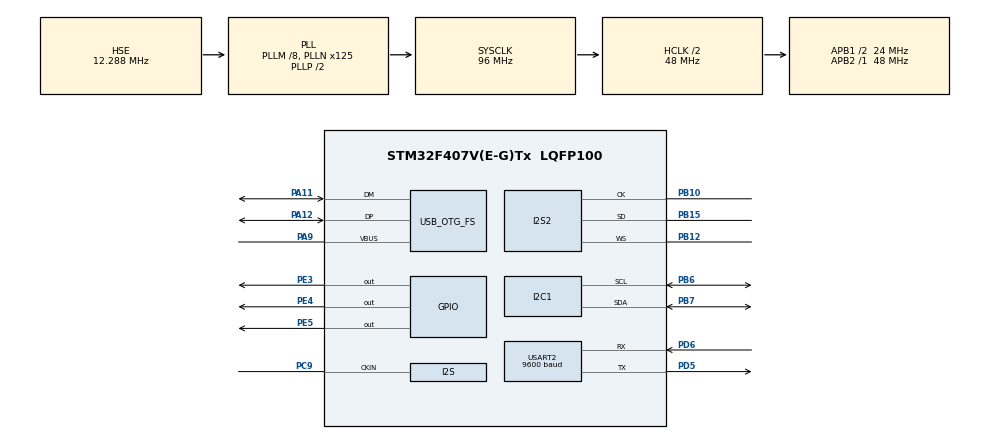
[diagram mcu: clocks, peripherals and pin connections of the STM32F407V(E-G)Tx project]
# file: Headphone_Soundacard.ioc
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Dma.Request0=SPI2_TX
Dma.SPI2_TX.0.Direction=DMA_MEMORY_TO_PERIPH
Dma.SPI2_TX.0.FIFOMode=DMA_FIFOMODE_DISABLE
Dma.SPI2_TX.0.Instance=DMA1_Stream4
Dma.SPI2_TX.0.MemDataAlignment=DMA_MDATAALIGN_HALFWORD
Dma.SPI2_TX.0.MemInc=DMA_MINC_ENABLE
Dma.SPI2_TX.0.Mode=DMA_CIRCULAR
Dma.SPI2_TX.0.PeriphDataAlignment=DMA_PDATAALIGN_HALFWORD
Dma.SPI2_TX.0.PeriphInc=DMA_PINC_DISABLE
Dma.SPI2_TX.0.Priority=DMA_PRIORITY_HIGH
I2S2.AudioFreq=I2S_AUDIOFREQ_48K
I2S2.ErrorAudioFreq=0.0 %
I2S2.FullDuplexMode=I2S_FULLDUPLEXMODE_DISABLE
I2S2.Instance=SPI$Index
I2S2.RealAudioFreq=48.0 KHz
I2S2.VirtualMode=I2S_MODE_MASTER
Mcu.Family=STM32F4
Mcu.Name=STM32F407V(E-G)Tx
Mcu.Package=LQFP100
NVIC.DMA1_Stream4_IRQn=true\:0\:0\:false\:false\:true\:false\:true\:true
NVIC.OTG_FS_IRQn=true\:0\:0\:false\:false\:true\:false\:true\:true
NVIC.PriorityGroup=NVIC_PRIORITYGROUP_4
NVIC.USART2_IRQn=true\:0\:0\:false\:false\:true\:true\:true\:true
PA11.Mode=Device_Only
PA11.Signal=USB_OTG_FS_DM
PA12.Mode=Device_Only
PA12.Signal=USB_OTG_FS_DP
PA13.Mode=Serial_Wire
PA13.Signal=SYS_JTMS-SWDIO
PA14.Mode=Serial_Wire
PA14.Signal=SYS_JTCK-SWCLK
PA9.Mode=Activate_VBUS
PA9.Signal=USB_OTG_FS_VBUS
PB10.Mode=Half_Duplex_Master
PB10.Signal=I2S2_CK
PB12.Mode=Half_Duplex_Master
PB12.Signal=I2S2_WS
PB15.Mode=Half_Duplex_Master
PB15.Signal=I2S2_SD
PB6.Mode=I2C
PB6.Signal=I2C1_SCL
PB7.Mode=I2C
PB7.Signal=I2C1_SDA
PC9.Mode=Audio_ClockIn
PC9.Signal=I2S_CKIN
PD5.Mode=Asynchronous
PD5.Signal=USART2_TX
PD6.Mode=Asynchronous
PD6.Signal=USART2_RX
PE3.Signal=GPIO_Output
PE4.Signal=GPIO_Output
PE5.Signal=GPIO_Output
PH0-OSC_IN.Mode=HSE-External-Clock-Source
PH0-OSC_IN.Signal=RCC_OSC_IN
PH1-OSC_OUT.Mode=HSE-External-Clock-Source
PH1-OSC_OUT.Signal=RCC_OSC_OUT
ProjectManager.HeapSize=0x200
ProjectManager.StackSize=0x400
ProjectManager.TargetToolchain=STM32CubeIDE
RCC.48MHZClocksFreq_Value=48000000
RCC.AHBCLKDivider=RCC_SYSCLK_DIV2
RCC.AHBFreq_Value=48000000
RCC.APB1CLKDivider=RCC_HCLK_DIV2
RCC.APB1Freq_Value=24000000
RCC.APB1TimFreq_Value=48000000
RCC.APB2Freq_Value=48000000
RCC.APB2TimFreq_Value=48000000
RCC.CortexFreq_Value=48000000
RCC.EnbaleCSS=true
RCC.HCLKFreq_Value=48000000
RCC.HSE_VALUE=12288000
RCC.HSI_VALUE=16000000
RCC.LSE_VALUE=32768
RCC.PLLI2SN=96
RCC.PLLI2SR=3
RCC.PLLM=8
RCC.PLLN=125
RCC.SYSCLKFreq_VALUE=96000000
RCC.SYSCLKSource=RCC_SYSCLKSOURCE_PLLCLK
RCC.VCOOutputFreq_Value=192000000
USART2.BaudRate=9600
USART2.VirtualMode=VM_ASYNC
USB_DEVICE.CLASS_NAME_FS=AUDIO
USB_DEVICE.USBD_AUDIO_FREQ-AUDIO_FS=48000
USB_DEVICE.VirtualMode-AUDIO_FS=Audio
USB_DEVICE.VirtualModeFS=Audio_FS
USB_OTG_FS.VirtualMode=Device_Only
VP_USB_DEVICE_VS_USB_DEVICE_AUDIO_FS.Mode=AUDIO_FS
board=custom

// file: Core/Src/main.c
/* USER CODE BEGIN Header */
/**
  ******************************************************************************
  * @file           : main.c
  * @brief          : Main program body
  ******************************************************************************
  * @attention
  *
  * Copyright (c) 2025 STMicroelectronics.
  * All rights reserved.
  *
  * This software is licensed under terms that can be found in the LICENSE file
  * in the root directory of this software component.
  * If no LICENSE file comes with this software, it is provided AS-IS.
  *
  ******************************************************************************
  */
/* USER CODE END Header */
#include "main.h"
#include "usb_device.h"

/* USER CODE BEGIN Includes */
#include "sgtl5000.h"
#include "cmd_ctrl.h"
/* USER CODE END Includes */

I2C_HandleTypeDef hi2c1;

I2S_HandleTypeDef hi2s2;
DMA_HandleTypeDef hdma_spi2_tx;

UART_HandleTypeDef huart2;

void SystemClock_Config(void);
static void MX_GPIO_Init(void);
static void MX_DMA_Init(void);
static void MX_I2C1_Init(void);
static void MX_USART2_UART_Init(void);
static void MX_I2S2_Init(void);
/* USER CODE BEGIN PFP */
int _write(int file, char *ptr, int len)
{
    HAL_UART_Transmit(&huart2, (uint8_t *)ptr, len, HAL_MAX_DELAY);
    return len;
}
/* USER CODE END PFP */

int main(void)
{

  /* MCU Configuration--------------------------------------------------------*/

  /* Reset of all peripherals, Initializes the Flash interface and the Systick. */
  HAL_Init();

  /* Configure the system clock */
  SystemClock_Config();

  /* Initialize all configured peripherals */
  MX_GPIO_Init();
  MX_DMA_Init();
  MX_I2C1_Init();
  MX_USB_DEVICE_Init();
  MX_USART2_UART_Init();
  MX_I2S2_Init();
  /* USER CODE BEGIN 2 */
  ctrl_init();
  uint8_t status;
  status = sgtl5000_init();
  if (status != I2C_SUCCESS) {
      printf("SGTL5000 initialization failed\r\n");
  }
  else {
      printf("SGTL5000 initialized successfully\r\n");
  }
  uint16_t reg_value;
  sgtl5000_reg_read(SGTL5000_CHIP_ANA_STATUS, &reg_value);
  printf("SGTL5000 ANA_STATUS: 0x%04X\r\n", reg_value);
  sgtl5000_reg_read(SGTL5000_CHIP_ANA_POWER, &reg_value);
  printf("SGTL5000 ANA_POWER: 0x%04X\r\n", reg_value);
  //sgtl5000_print_all_regs(); // Print all registers for debugging
  /* USER CODE END 2 */

  /* Infinite loop */
  while (1)
  {

    /* USER CODE BEGIN 3 */
    // Blink LED or do other tasks...
    HAL_GPIO_TogglePin(GPIOE, GPIO_PIN_3);
    ctrl_poll();
  }
  /* USER CODE END 3 */
}

void SystemClock_Config(void)
{
  RCC_OscInitTypeDef RCC_OscInitStruct = {0};
  RCC_ClkInitTypeDef RCC_ClkInitStruct = {0};

  /** Configure the main internal regulator output voltage
  */
  __HAL_RCC_PWR_CLK_ENABLE();
  __HAL_PWR_VOLTAGESCALING_CONFIG(PWR_REGULATOR_VOLTAGE_SCALE1);

  /** Initializes the RCC Oscillators according to the specified parameters
  * in the RCC_OscInitTypeDef structure.
  */
  RCC_OscInitStruct.OscillatorType = RCC_OSCILLATORTYPE_HSE;
  RCC_OscInitStruct.HSEState = RCC_HSE_BYPASS;
  RCC_OscInitStruct.PLL.PLLState = RCC_PLL_ON;
  RCC_OscInitStruct.PLL.PLLSource = RCC_PLLSOURCE_HSE;
  RCC_OscInitStruct.PLL.PLLM = 8;
  RCC_OscInitStruct.PLL.PLLN = 125;
  RCC_OscInitStruct.PLL.PLLP = RCC_PLLP_DIV2;
  RCC_OscInitStruct.PLL.PLLQ = 4;
  if (HAL_RCC_OscConfig(&RCC_OscInitStruct) != HAL_OK)
  {
    Error_Handler();
  }

  /** Initializes the CPU, AHB and APB buses clocks
  */
  RCC_ClkInitStruct.ClockType = RCC_CLOCKTYPE_HCLK|RCC_CLOCKTYPE_SYSCLK
                              |RCC_CLOCKTYPE_PCLK1|RCC_CLOCKTYPE_PCLK2;
  RCC_ClkInitStruct.SYSCLKSource = RCC_SYSCLKSOURCE_PLLCLK;
  RCC_ClkInitStruct.AHBCLKDivider = RCC_SYSCLK_DIV2;
  RCC_ClkInitStruct.APB1CLKDivider = RCC_HCLK_DIV2;
  RCC_ClkInitStruct.APB2CLKDivider = RCC_HCLK_DIV1;

  if (HAL_RCC_ClockConfig(&RCC_ClkInitStruct, FLASH_LATENCY_1) != HAL_OK)
  {
    Error_Handler();
  }

  /** Enables the Clock Security System
  */
  HAL_RCC_EnableCSS();
}

static void MX_I2C1_Init(void)
{

  hi2c1.Instance = I2C1;
  hi2c1.Init.ClockSpeed = 100000;
  hi2c1.Init.DutyCycle = I2C_DUTYCYCLE_2;
  hi2c1.Init.OwnAddress1 = 0;
  hi2c1.Init.AddressingMode = I2C_ADDRESSINGMODE_7BIT;
  hi2c1.Init.DualAddressMode = I2C_DUALADDRESS_DISABLE;
  hi2c1.Init.OwnAddress2 = 0;
  hi2c1.Init.GeneralCallMode = I2C_GENERALCALL_DISABLE;
  hi2c1.Init.NoStretchMode = I2C_NOSTRETCH_DISABLE;
  if (HAL_I2C_Init(&hi2c1) != HAL_OK)
  {
    Error_Handler();
  }

}

static void MX_I2S2_Init(void)
{

  hi2s2.Instance = SPI2;
  hi2s2.Init.Mode = I2S_MODE_MASTER_TX;
  hi2s2.Init.Standard = I2S_STANDARD_PHILIPS;
  hi2s2.Init.DataFormat = I2S_DATAFORMAT_16B;
  hi2s2.Init.MCLKOutput = I2S_MCLKOUTPUT_DISABLE;
  hi2s2.Init.AudioFreq = I2S_AUDIOFREQ_48K;
  hi2s2.Init.CPOL = I2S_CPOL_LOW;
  hi2s2.Init.ClockSource = I2S_CLOCK_PLL;
  hi2s2.Init.FullDuplexMode = I2S_FULLDUPLEXMODE_DISABLE;
  if (HAL_I2S_Init(&hi2s2) != HAL_OK)
  {
    Error_Handler();
  }

}

static void MX_USART2_UART_Init(void)
{

  huart2.Instance = USART2;
  huart2.Init.BaudRate = 9600;
  huart2.Init.WordLength = UART_WORDLENGTH_8B;
  huart2.Init.StopBits = UART_STOPBITS_1;
  huart2.Init.Parity = UART_PARITY_NONE;
  huart2.Init.Mode = UART_MODE_TX_RX;
  huart2.Init.HwFlowCtl = UART_HWCONTROL_NONE;
  huart2.Init.OverSampling = UART_OVERSAMPLING_16;
  if (HAL_UART_Init(&huart2) != HAL_OK)
  {
    Error_Handler();
  }

}

static void MX_DMA_Init(void)
{

  /* DMA controller clock enable */
  __HAL_RCC_DMA1_CLK_ENABLE();

  /* DMA interrupt init */
  /* DMA1_Stream4_IRQn interrupt configuration */
  HAL_NVIC_SetPriority(DMA1_Stream4_IRQn, 0, 0);
  HAL_NVIC_EnableIRQ(DMA1_Stream4_IRQn);

}

static void MX_GPIO_Init(void)
{
  GPIO_InitTypeDef GPIO_InitStruct = {0};

  /* GPIO Ports Clock Enable */
  __HAL_RCC_GPIOE_CLK_ENABLE();
  __HAL_RCC_GPIOH_CLK_ENABLE();
  __HAL_RCC_GPIOB_CLK_ENABLE();
  __HAL_RCC_GPIOC_CLK_ENABLE();
  __HAL_RCC_GPIOA_CLK_ENABLE();
  __HAL_RCC_GPIOD_CLK_ENABLE();

  /*Configure GPIO pin Output Level */
  HAL_GPIO_WritePin(GPIOE, GPIO_PIN_3|GPIO_PIN_4|GPIO_PIN_5, GPIO_PIN_RESET);

  /*Configure GPIO pins : PE3 PE4 PE5 */
  GPIO_InitStruct.Pin = GPIO_PIN_3|GPIO_PIN_4|GPIO_PIN_5;
  GPIO_InitStruct.Mode = GPIO_MODE_OUTPUT_PP;
  GPIO_InitStruct.Pull = GPIO_NOPULL;
  GPIO_InitStruct.Speed = GPIO_SPEED_FREQ_LOW;
  HAL_GPIO_Init(GPIOE, &GPIO_InitStruct);

  /*Configure GPIO pin : PC9 */
  GPIO_InitStruct.Pin = GPIO_PIN_9;
  GPIO_InitStruct.Mode = GPIO_MODE_AF_PP;
  GPIO_InitStruct.Pull = GPIO_NOPULL;
  GPIO_InitStruct.Speed = GPIO_SPEED_FREQ_LOW;
  GPIO_InitStruct.Alternate = GPIO_AF5_SPI1;
  HAL_GPIO_Init(GPIOC, &GPIO_InitStruct);

}

void Error_Handler(void)
{
  __disable_irq();
  while (1)
  {
  }
}
